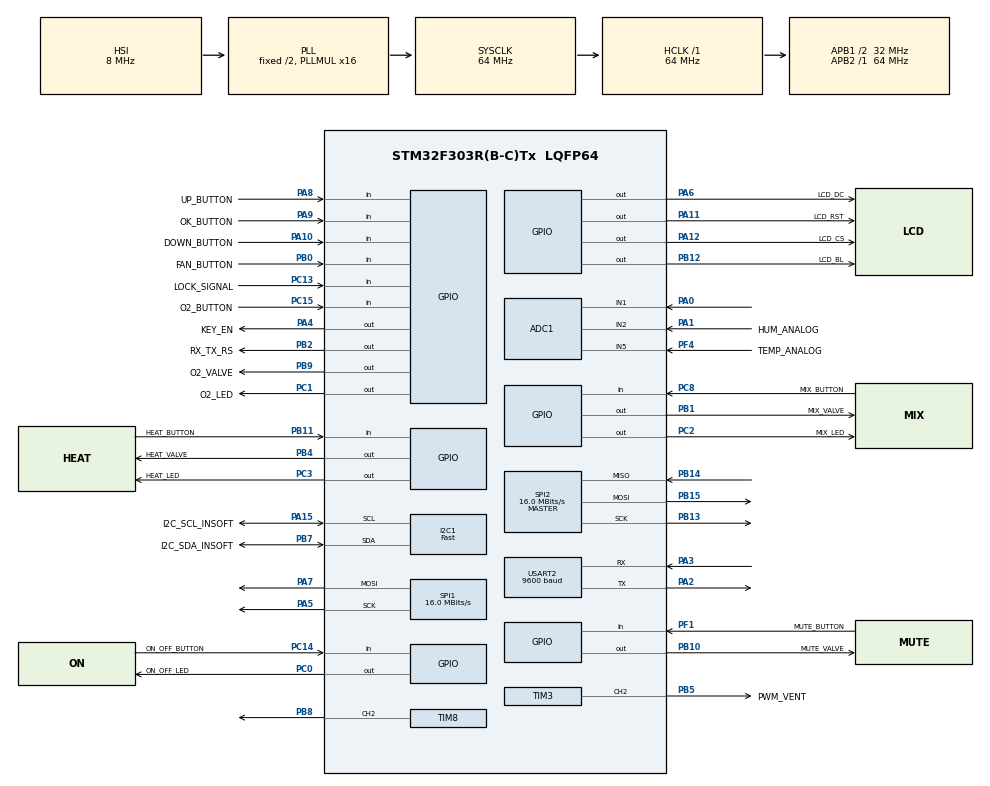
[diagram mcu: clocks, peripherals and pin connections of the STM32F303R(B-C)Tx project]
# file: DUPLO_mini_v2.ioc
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ADC1.ContinuousConvMode=ENABLE
ADC1.EnableInjectedConversion=ENABLE
ADC1.EnableRegularConversion=DISABLE
ADC1.InjNumberOfConversion=3
ADC1.InjectedChannel-1\#ChannelInjectedConversion=ADC_CHANNEL_1
ADC1.InjectedChannel-2\#ChannelInjectedConversion=ADC_CHANNEL_2
ADC1.InjectedChannel-3\#ChannelInjectedConversion=ADC_CHANNEL_5
ADC1.InjectedConvMode=AutoInjected
ADC1.InjectedOffset-1\#ChannelInjectedConversion=0
ADC1.InjectedOffset-2\#ChannelInjectedConversion=0
ADC1.InjectedOffset-3\#ChannelInjectedConversion=0
ADC1.InjectedOffsetNumber-1\#ChannelInjectedConversion=ADC_OFFSET_NONE
ADC1.InjectedOffsetNumber-2\#ChannelInjectedConversion=ADC_OFFSET_NONE
ADC1.InjectedOffsetNumber-3\#ChannelInjectedConversion=ADC_OFFSET_NONE
ADC1.InjectedRank-1\#ChannelInjectedConversion=1
ADC1.InjectedRank-2\#ChannelInjectedConversion=2
ADC1.InjectedRank-3\#ChannelInjectedConversion=3
ADC1.InjectedSamplingTime-1\#ChannelInjectedConversion=ADC_SAMPLETIME_19CYCLES_5
ADC1.InjectedSamplingTime-2\#ChannelInjectedConversion=ADC_SAMPLETIME_19CYCLES_5
ADC1.InjectedSamplingTime-3\#ChannelInjectedConversion=ADC_SAMPLETIME_19CYCLES_5
ADC1.InjectedSamplingTimeOPAMP-1\#ChannelInjectedConversion=ADC_SAMPLETIME_4CYCLES_5
ADC1.InjectedSamplingTimeOPAMP-2\#ChannelInjectedConversion=ADC_SAMPLETIME_4CYCLES_5
ADC1.InjectedSamplingTimeOPAMP-3\#ChannelInjectedConversion=ADC_SAMPLETIME_7CYCLES_5
ADC1.Rank3_Channel=ADC_CHANNEL_5
ADC1.master=1
I2C1.I2C_Speed_Mode=I2C_Fast
I2C1.Timing=0x00602173
Mcu.Family=STM32F3
Mcu.Name=STM32F303R(B-C)Tx
Mcu.Package=LQFP64
NVIC.I2C1_ER_IRQn=true\:0\:0\:false\:false\:true\:true\:true\:true
NVIC.I2C1_EV_IRQn=true\:0\:0\:false\:false\:true\:true\:true\:true
NVIC.PriorityGroup=NVIC_PRIORITYGROUP_4
NVIC.SPI1_IRQn=true\:0\:0\:false\:false\:true\:true\:true\:true
NVIC.TIM1_BRK_TIM15_IRQn=true\:0\:0\:false\:false\:true\:true\:true\:true
NVIC.TIM3_IRQn=true\:0\:0\:false\:false\:true\:true\:true\:true
NVIC.TIM6_DAC_IRQn=true\:0\:0\:false\:false\:true\:true\:true\:true
NVIC.TIM7_IRQn=true\:0\:0\:false\:false\:true\:true\:true\:true
NVIC.USART2_IRQn=true\:0\:0\:false\:false\:true\:true\:true\:true
PA0.Mode=IN1-Single-Ended
PA0.Signal=ADC1_IN1
PA1.GPIO_Label=HUM_ANALOG
PA1.Mode=IN2-Single-Ended
PA1.Signal=ADC1_IN2
PA10.GPIO_Label=DOWN_BUTTON
PA10.Signal=GPIO_Input
PA11.GPIO_Label=LCD_RST
PA11.Signal=GPIO_Output
PA12.GPIO_Label=LCD_CS
PA12.Signal=GPIO_Output
PA13.Mode=Serial_Wire
PA13.Signal=SYS_JTMS-SWDIO
PA14.Mode=Serial_Wire
PA14.Signal=SYS_JTCK-SWCLK
PA15.GPIO_Label=I2C_SCL_INSOFT
PA15.Mode=I2C
PA15.Signal=I2C1_SCL
PA2.Mode=Asynchronous
PA2.Signal=USART2_TX
PA3.Mode=Asynchronous
PA3.Signal=USART2_RX
PA4.GPIO_Label=KEY_EN
PA4.Signal=GPIO_Output
PA5.Mode=TX_Only_Simplex_Unidirect_Master
PA5.Signal=SPI1_SCK
PA6.GPIO_Label=LCD_DC
PA6.Signal=GPIO_Output
PA7.Mode=TX_Only_Simplex_Unidirect_Master
PA7.Signal=SPI1_MOSI
PA8.GPIO_Label=UP_BUTTON
PA8.Signal=GPIO_Input
PA9.GPIO_Label=OK_BUTTON
PA9.Signal=GPIO_Input
PB0.GPIO_Label=FAN_BUTTON
PB0.Signal=GPIO_Input
PB1.GPIO_Label=MIX_VALVE
PB1.Signal=GPIO_Output
PB10.GPIO_Label=MUTE_VALVE
PB10.Signal=GPIO_Output
PB11.GPIO_Label=HEAT_BUTTON
PB11.Signal=GPIO_Input
PB12.GPIO_Label=LCD_BL
PB12.Signal=GPIO_Output
PB13.Mode=Full_Duplex_Master
PB13.Signal=SPI2_SCK
PB14.Mode=Full_Duplex_Master
PB14.Signal=SPI2_MISO
PB15.Mode=Full_Duplex_Master
PB15.Signal=SPI2_MOSI
PB2.GPIO_Label=RX_TX_RS
PB2.Signal=GPIO_Output
PB3.Signal=SYS_JTDO-TRACESWO
PB4.GPIO_Label=HEAT_VALVE
PB4.Signal=GPIO_Output
PB5.GPIO_Label=PWM_VENT
PB5.Signal=S_TIM3_CH2
PB7.GPIO_Label=I2C_SDA_INSOFT
PB7.Mode=I2C
PB7.Signal=I2C1_SDA
PB8.Signal=S_TIM8_CH2
PB9.GPIO_Label=O2_VALVE
PB9.Signal=GPIO_Output
PC0.GPIO_Label=ON_OFF_LED
PC0.Signal=GPIO_Output
PC1.GPIO_Label=O2_LED
PC1.Signal=GPIO_Output
PC13.GPIO_Label=LOCK_SIGNAL
PC13.Signal=GPIO_Input
PC14-OSC32_IN.GPIO_Label=ON_OFF_BUTTON
PC14-OSC32_IN.Signal=GPIO_Input
PC15-OSC32_OUT.GPIO_Label=O2_BUTTON
PC15-OSC32_OUT.Signal=GPIO_Input
PC2.GPIO_Label=MIX_LED
PC2.Signal=GPIO_Output
PC3.GPIO_Label=HEAT_LED
PC3.Signal=GPIO_Output
PC8.GPIO_Label=MIX_BUTTON
PC8.Signal=GPIO_Input
PF1-OSC_OUT.GPIO_Label=MUTE_BUTTON
PF1-OSC_OUT.Signal=GPIO_Input
PF4.GPIO_Label=TEMP_ANALOG
PF4.Mode=IN5-Single-Ended
PF4.Signal=ADC1_IN5
ProjectManager.HeapSize=0x200
ProjectManager.StackSize=0x400
ProjectManager.TargetToolchain=STM32CubeIDE
RCC.ADC12PRES=RCC_ADC12PLLCLK_DIV4
RCC.AHBFreq_Value=64000000
RCC.APB1CLKDivider=RCC_HCLK_DIV2
RCC.APB1Freq_Value=32000000
RCC.APB1TimFreq_Value=64000000
RCC.APB2Freq_Value=64000000
RCC.APB2TimFreq_Value=64000000
RCC.CortexFreq_Value=64000000
RCC.HCLKFreq_Value=64000000
RCC.HSE_VALUE=8000000
RCC.HSI_VALUE=8000000
RCC.I2c1ClockSelection=RCC_I2C1CLKSOURCE_SYSCLK
RCC.LSE_VALUE=32768
RCC.PLLMUL=RCC_PLL_MUL16
RCC.SYSCLKFreq_VALUE=64000000
RCC.SYSCLKSourceVirtual=RCC_SYSCLKSOURCE_PLLCLK
RCC.USBFreq_Value=64000000
SH.S_TIM3_CH2.0=TIM3_CH2,PWM Generation2 CH2
SH.S_TIM8_CH2.0=TIM8_CH2,PWM Generation2 CH2
SPI1.BaudRatePrescaler=SPI_BAUDRATEPRESCALER_4
SPI1.CalculateBaudRate=16.0 MBits/s
SPI1.DataSize=SPI_DATASIZE_8BIT
SPI1.Direction=SPI_DIRECTION_2LINES
SPI1.Mode=SPI_MODE_MASTER
SPI1.VirtualType=VM_MASTER
SPI2.CalculateBaudRate=16.0 MBits/s
SPI2.Direction=SPI_DIRECTION_2LINES
SPI2.Mode=SPI_MODE_MASTER
SPI2.VirtualType=VM_MASTER
TIM15.Period=999
TIM15.Prescaler=63
TIM3.Channel-PWM\ Generation2\ CH2=TIM_CHANNEL_2
TIM3.Period=255
TIM3.Prescaler=34
TIM3.Pulse-PWM\ Generation2\ CH2=50
TIM6.Period=49999
TIM6.Prescaler=639
TIM7.Period=50
TIM7.Prescaler=63
TIM8.Channel-PWM\ Generation2\ CH2=TIM_CHANNEL_2
TIM8.Period=39
TIM8.Prescaler=639
TIM8.Pulse-PWM\ Generation2\ CH2=10
USART2.BaudRate=9600
USART2.VirtualMode-Asynchronous=VM_ASYNC
VP_TIM15_VS_ClockSourceINT.Mode=Internal
VP_TIM6_VS_ClockSourceINT.Mode=Enable_Timer
VP_TIM7_VS_ClockSourceINT.Mode=Enable_Timer
board=custom

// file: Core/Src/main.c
/* USER CODE BEGIN Header */
/**
 ******************************************************************************
 * @file           : main.c
 * @brief          : Main program body
 ******************************************************************************
 * @attention
 *
 * Copyright (c) 2023 STMicroelectronics.
 * All rights reserved.
 *
 * This software is licensed under terms that can be found in the LICENSE file
 * in the root directory of this software component.
 * If no LICENSE file comes with this software, it is provided AS-IS.
 *
 ******************************************************************************
 */
/* USER CODE END Header */
#include "main.h"

/* USER CODE BEGIN Includes */
#include "../../Modules/Button/button.h"
#include <stdio.h>
#include <gas_sensor.h>
#include <window_drawer.h>
#include <math.h>
#include <sensors_in.h>
#include <button_press_check.h>
#include <stdbool.h>
#include "../../Modules/LCD/stm32_adafruit_lcd.h"

/* USER CODE END Includes */

ADC_HandleTypeDef hadc1;

I2C_HandleTypeDef hi2c1;

SPI_HandleTypeDef hspi1;
SPI_HandleTypeDef hspi2;

TIM_HandleTypeDef htim3;
TIM_HandleTypeDef htim6;
TIM_HandleTypeDef htim7;
TIM_HandleTypeDef htim8;
TIM_HandleTypeDef htim15;

UART_HandleTypeDef huart2;

/* USER CODE BEGIN PV */
DUPLO_MODE cur_mode;

float adc_co2_sum = 0;
uint16_t i2c_o2_sum = 0;
uint16_t i2c_ar_sum = 0;
bool porsion = 0;
bool set_ch = 1;
bool settings_open = 0;
uint8_t mute_counter = 0;
uint8_t porsion_counter = 0;
uint8_t counter_choice = 0;
uint16_t o2_mid = 0;
uint16_t ar_mid = 0;
uint16_t temp = 0;
uint16_t hum = 0;
uint16_t adc_co2 = 0;
uint8_t setting_mode = 1;
uint16_t i2c_answer[] = { 0x00, 0x00 };
uint8_t del = 9;
uint8_t o2_mode = 0;
uint8_t ar_mode = 0;
uint8_t setting_corr = 10;
uint8_t work_on = 0;

/* USER CODE END PV */

void SystemClock_Config(void);
static void MX_GPIO_Init(void);
static void MX_ADC1_Init(void);
static void MX_I2C1_Init(void);
static void MX_SPI1_Init(void);
static void MX_TIM3_Init(void);
static void MX_TIM6_Init(void);
static void MX_TIM15_Init(void);
static void MX_TIM7_Init(void);
static void MX_USART2_UART_Init(void);
static void MX_SPI2_Init(void);
static void MX_TIM8_Init(void);

int main(void) {

	/* MCU Configuration--------------------------------------------------------*/

	/* Reset of all peripherals, Initializes the Flash interface and the Systick. */
	HAL_Init();

	/* Configure the system clock */
	SystemClock_Config();

	/* Initialize all configured peripherals */
	MX_GPIO_Init();
	MX_ADC1_Init();
	MX_I2C1_Init();
	MX_SPI1_Init();
	MX_TIM3_Init();
	MX_TIM6_Init();
	MX_TIM15_Init();
	MX_TIM7_Init();
	MX_USART2_UART_Init();
	MX_SPI2_Init();
	MX_TIM8_Init();
	/* USER CODE BEGIN 2 */

	BSP_LCD_Init();
	BSP_LCD_Clear(LCD_COLOR_BLACK);
	BUTTON_Init();
	HAL_ADCEx_Calibration_Start(&hadc1, ADC_SINGLE_ENDED);
	TIM3->CCR2 = 0;
	TIM8->CCR2 = 0;

	HAL_TIM_Base_Start_IT(&htim3);
	HAL_TIM_Base_Start_IT(&htim6);
	HAL_TIM_Base_Start_IT(&htim15);
	HAL_TIM_PWM_Start(&htim3, TIM_CHANNEL_2);
	HAL_TIM_PWM_Start(&htim8, TIM_CHANNEL_2);

	cur_mode.mode = 0;
	cur_mode.vent = 0;
	cur_mode.ar_setting = 400;
	cur_mode.o2_setting = 400;

	/* USER CODE END 2 */

	/* Infinite loop */
	/* USER CODE BEGIN WHILE */

	setGasType(hi2c1, 1);

	HAL_ADC_Start(&hadc1);

	main_page();
	button_led_init();

	while (1) {
		BUTTON_Process();

		if (BUTTON_GetAction(BUTTON_ON) == BUTTON_LONG_PRESS) {
			if (work_on == 0) {
				button_on();
				work_on = 1;
				cur_mode.vent = change_vent_mode(0);
			} else {
				work_on = 0;
				button_off();
				cur_mode.vent = change_vent_mode(3);
				cur_mode.mode = 0;
				o2_mode = 0;
				ar_mode = 0;
				TIM8->CCR2 = 0;
				mute_counter = 0;
				settings_open = 0;
				delete_main_frame();
				main_page();
			}
		}

		if (work_on) {

			get_both(hi2c1, i2c_answer);

			modbus_get_temp_hum(huart2, &temp, &hum);

			button_check(hi2c1, &o2_mode, &ar_mode, &cur_mode, &mute_counter,
					&settings_open, &setting_mode);

			if (counter_choice == 9) {
				o2_mid = i2c_o2_sum / del;
				ar_mid = i2c_ar_sum / del;
				adc_co2 = adc_co2_sum / del;
			}

			if (!settings_open) {
				sensors_draw(o2_mid, temp, hum, adc_co2, ar_mid, &cur_mode);
				work_mode(cur_mode.mode);
			} else {
				settings_draw(&cur_mode);
			}

			switch (cur_mode.mode) {
			case 0:
				HAL_GPIO_WritePin(O2_VALVE_GPIO_Port, O2_VALVE_Pin, PIN_OFF);
				HAL_GPIO_WritePin(MIX_VALVE_GPIO_Port, MIX_VALVE_Pin, PIN_OFF);
				break;
			case 1:
				HAL_GPIO_WritePin(O2_VALVE_GPIO_Port, O2_VALVE_Pin, PIN_OFF);
				if (ar_mid < cur_mode.ar_setting - setting_corr && porsion) {
					HAL_GPIO_WritePin(MIX_VALVE_GPIO_Port, MIX_VALVE_Pin,
					PIN_ON);
				} else
					HAL_GPIO_WritePin(MIX_VALVE_GPIO_Port, MIX_VALVE_Pin,
					PIN_OFF);
				break;
			case 10:
				HAL_GPIO_WritePin(MIX_VALVE_GPIO_Port, MIX_VALVE_Pin, PIN_OFF);
				if (o2_mid < cur_mode.o2_setting - setting_corr && porsion) {
					HAL_GPIO_WritePin(O2_VALVE_GPIO_Port, O2_VALVE_Pin, PIN_ON);
				} else
					HAL_GPIO_WritePin(O2_VALVE_GPIO_Port, O2_VALVE_Pin,
					PIN_OFF);
				break;
			case 11:
				if (ar_mid < cur_mode.ar_setting - setting_corr && porsion) {
					HAL_GPIO_WritePin(MIX_VALVE_GPIO_Port, MIX_VALVE_Pin,
					PIN_ON);
				} else
					HAL_GPIO_WritePin(MIX_VALVE_GPIO_Port, MIX_VALVE_Pin,
					PIN_OFF);

				if (porsion && ar_mid > cur_mode.ar_setting - setting_corr
						&& ar_mid < 1000) {
					if (o2_mid < cur_mode.o2_setting - setting_corr) {
						HAL_GPIO_WritePin(O2_VALVE_GPIO_Port, O2_VALVE_Pin,
						PIN_ON);
					} else
						HAL_GPIO_WritePin(O2_VALVE_GPIO_Port, O2_VALVE_Pin,
						PIN_OFF);
				} else {
					HAL_GPIO_WritePin(O2_VALVE_GPIO_Port, O2_VALVE_Pin,
					PIN_OFF);
				}
				break;
			default:
				HAL_GPIO_WritePin(O2_VALVE_GPIO_Port, O2_VALVE_Pin, PIN_OFF);
				HAL_GPIO_WritePin(MIX_VALVE_GPIO_Port, MIX_VALVE_Pin, PIN_OFF);
				break;
			}

			if ((adc_co2 > 100 || o2_mid < 190 || temp > 4000)
					&& mute_counter == 0) {
				TIM8->CCR2 = 20;
			} else
				TIM8->CCR2 = 0;
		}

		BUTTON_ResetActions();

		/* USER CODE END WHILE */

	}
}

void SystemClock_Config(void) {
	RCC_OscInitTypeDef RCC_OscInitStruct = { 0 };
	RCC_ClkInitTypeDef RCC_ClkInitStruct = { 0 };
	RCC_PeriphCLKInitTypeDef PeriphClkInit = { 0 };

	/** Initializes the RCC Oscillators according to the specified parameters
	 * in the RCC_OscInitTypeDef structure.
	 */
	RCC_OscInitStruct.OscillatorType = RCC_OSCILLATORTYPE_HSI;
	RCC_OscInitStruct.HSIState = RCC_HSI_ON;
	RCC_OscInitStruct.HSICalibrationValue = RCC_HSICALIBRATION_DEFAULT;
	RCC_OscInitStruct.PLL.PLLState = RCC_PLL_ON;
	RCC_OscInitStruct.PLL.PLLSource = RCC_PLLSOURCE_HSI;
	RCC_OscInitStruct.PLL.PLLMUL = RCC_PLL_MUL16;
	if (HAL_RCC_OscConfig(&RCC_OscInitStruct) != HAL_OK) {
		Error_Handler();
	}

	/** Initializes the CPU, AHB and APB buses clocks
	 */
	RCC_ClkInitStruct.ClockType = RCC_CLOCKTYPE_HCLK | RCC_CLOCKTYPE_SYSCLK
			| RCC_CLOCKTYPE_PCLK1 | RCC_CLOCKTYPE_PCLK2;
	RCC_ClkInitStruct.SYSCLKSource = RCC_SYSCLKSOURCE_PLLCLK;
	RCC_ClkInitStruct.AHBCLKDivider = RCC_SYSCLK_DIV1;
	RCC_ClkInitStruct.APB1CLKDivider = RCC_HCLK_DIV2;
	RCC_ClkInitStruct.APB2CLKDivider = RCC_HCLK_DIV1;

	if (HAL_RCC_ClockConfig(&RCC_ClkInitStruct, FLASH_LATENCY_2) != HAL_OK) {
		Error_Handler();
	}
	PeriphClkInit.PeriphClockSelection = RCC_PERIPHCLK_USART2
			| RCC_PERIPHCLK_I2C1 | RCC_PERIPHCLK_TIM8 | RCC_PERIPHCLK_ADC12;
	PeriphClkInit.Usart2ClockSelection = RCC_USART2CLKSOURCE_PCLK1;
	PeriphClkInit.Adc12ClockSelection = RCC_ADC12PLLCLK_DIV4;
	PeriphClkInit.I2c1ClockSelection = RCC_I2C1CLKSOURCE_SYSCLK;
	PeriphClkInit.Tim8ClockSelection = RCC_TIM8CLK_HCLK;
	if (HAL_RCCEx_PeriphCLKConfig(&PeriphClkInit) != HAL_OK) {
		Error_Handler();
	}
}

static void MX_ADC1_Init(void) {

	ADC_MultiModeTypeDef multimode = { 0 };
	ADC_InjectionConfTypeDef sConfigInjected = { 0 };

	/** Common config
	 */
	hadc1.Instance = ADC1;
	hadc1.Init.ClockPrescaler = ADC_CLOCK_ASYNC_DIV1;
	hadc1.Init.Resolution = ADC_RESOLUTION_12B;
	hadc1.Init.ScanConvMode = ADC_SCAN_ENABLE;
	hadc1.Init.ContinuousConvMode = ENABLE;
	hadc1.Init.DiscontinuousConvMode = DISABLE;
	hadc1.Init.DataAlign = ADC_DATAALIGN_RIGHT;
	hadc1.Init.NbrOfConversion = 1;
	hadc1.Init.DMAContinuousRequests = DISABLE;
	hadc1.Init.EOCSelection = ADC_EOC_SINGLE_CONV;
	hadc1.Init.LowPowerAutoWait = DISABLE;
	hadc1.Init.Overrun = ADC_OVR_DATA_OVERWRITTEN;
	if (HAL_ADC_Init(&hadc1) != HAL_OK) {
		Error_Handler();
	}

	/** Configure the ADC multi-mode
	 */
	multimode.Mode = ADC_MODE_INDEPENDENT;
	if (HAL_ADCEx_MultiModeConfigChannel(&hadc1, &multimode) != HAL_OK) {
		Error_Handler();
	}

	/** Configure Injected Channel
	 */
	sConfigInjected.InjectedChannel = ADC_CHANNEL_1;
	sConfigInjected.InjectedRank = ADC_INJECTED_RANK_1;
	sConfigInjected.InjectedSingleDiff = ADC_SINGLE_ENDED;
	sConfigInjected.InjectedNbrOfConversion = 3;
	sConfigInjected.InjectedSamplingTime = ADC_SAMPLETIME_19CYCLES_5;
	sConfigInjected.ExternalTrigInjecConvEdge =
	ADC_EXTERNALTRIGINJECCONV_EDGE_RISING;
	sConfigInjected.ExternalTrigInjecConv = ADC_INJECTED_SOFTWARE_START;
	sConfigInjected.AutoInjectedConv = ENABLE;
	sConfigInjected.InjectedDiscontinuousConvMode = DISABLE;
	sConfigInjected.QueueInjectedContext = DISABLE;
	sConfigInjected.InjectedOffset = 0;
	sConfigInjected.InjectedOffsetNumber = ADC_OFFSET_NONE;
	if (HAL_ADCEx_InjectedConfigChannel(&hadc1, &sConfigInjected) != HAL_OK) {
		Error_Handler();
	}

	/** Configure Injected Channel
	 */
	sConfigInjected.InjectedChannel = ADC_CHANNEL_2;
	sConfigInjected.InjectedRank = ADC_INJECTED_RANK_2;
	if (HAL_ADCEx_InjectedConfigChannel(&hadc1, &sConfigInjected) != HAL_OK) {
		Error_Handler();
	}

	/** Configure Injected Channel
	 */
	sConfigInjected.InjectedChannel = ADC_CHANNEL_5;
	sConfigInjected.InjectedRank = ADC_INJECTED_RANK_3;
	if (HAL_ADCEx_InjectedConfigChannel(&hadc1, &sConfigInjected) != HAL_OK) {
		Error_Handler();
	}

}

static void MX_I2C1_Init(void) {

	hi2c1.Instance = I2C1;
	hi2c1.Init.Timing = 0x00602173;
	hi2c1.Init.OwnAddress1 = 0;
	hi2c1.Init.AddressingMode = I2C_ADDRESSINGMODE_7BIT;
	hi2c1.Init.DualAddressMode = I2C_DUALADDRESS_DISABLE;
	hi2c1.Init.OwnAddress2 = 0;
	hi2c1.Init.OwnAddress2Masks = I2C_OA2_NOMASK;
	hi2c1.Init.GeneralCallMode = I2C_GENERALCALL_DISABLE;
	hi2c1.Init.NoStretchMode = I2C_NOSTRETCH_DISABLE;
	if (HAL_I2C_Init(&hi2c1) != HAL_OK) {
		Error_Handler();
	}

	/** Configure Analogue filter
	 */
	if (HAL_I2CEx_ConfigAnalogFilter(&hi2c1, I2C_ANALOGFILTER_ENABLE)
			!= HAL_OK) {
		Error_Handler();
	}

	/** Configure Digital filter
	 */
	if (HAL_I2CEx_ConfigDigitalFilter(&hi2c1, 0) != HAL_OK) {
		Error_Handler();
	}

}

static void MX_SPI1_Init(void) {

	/* SPI1 parameter configuration*/
	hspi1.Instance = SPI1;
	hspi1.Init.Mode = SPI_MODE_MASTER;
	hspi1.Init.Direction = SPI_DIRECTION_2LINES;
	hspi1.Init.DataSize = SPI_DATASIZE_8BIT;
	hspi1.Init.CLKPolarity = SPI_POLARITY_LOW;
	hspi1.Init.CLKPhase = SPI_PHASE_1EDGE;
	hspi1.Init.NSS = SPI_NSS_SOFT;
	hspi1.Init.BaudRatePrescaler = SPI_BAUDRATEPRESCALER_4;
	hspi1.Init.FirstBit = SPI_FIRSTBIT_MSB;
	hspi1.Init.TIMode = SPI_TIMODE_DISABLE;
	hspi1.Init.CRCCalculation = SPI_CRCCALCULATION_DISABLE;
	hspi1.Init.CRCPolynomial = 7;
	hspi1.Init.CRCLength = SPI_CRC_LENGTH_DATASIZE;
	hspi1.Init.NSSPMode = SPI_NSS_PULSE_ENABLE;
	if (HAL_SPI_Init(&hspi1) != HAL_OK) {
		Error_Handler();
	}

}

static void MX_SPI2_Init(void) {

	/* SPI2 parameter configuration*/
	hspi2.Instance = SPI2;
	hspi2.Init.Mode = SPI_MODE_MASTER;
	hspi2.Init.Direction = SPI_DIRECTION_2LINES;
	hspi2.Init.DataSize = SPI_DATASIZE_4BIT;
	hspi2.Init.CLKPolarity = SPI_POLARITY_LOW;
	hspi2.Init.CLKPhase = SPI_PHASE_1EDGE;
	hspi2.Init.NSS = SPI_NSS_SOFT;
	hspi2.Init.BaudRatePrescaler = SPI_BAUDRATEPRESCALER_2;
	hspi2.Init.FirstBit = SPI_FIRSTBIT_MSB;
	hspi2.Init.TIMode = SPI_TIMODE_DISABLE;
	hspi2.Init.CRCCalculation = SPI_CRCCALCULATION_DISABLE;
	hspi2.Init.CRCPolynomial = 7;
	hspi2.Init.CRCLength = SPI_CRC_LENGTH_DATASIZE;
	hspi2.Init.NSSPMode = SPI_NSS_PULSE_ENABLE;
	if (HAL_SPI_Init(&hspi2) != HAL_OK) {
		Error_Handler();
	}

}

static void MX_TIM3_Init(void) {

	TIM_MasterConfigTypeDef sMasterConfig = { 0 };
	TIM_OC_InitTypeDef sConfigOC = { 0 };

	htim3.Instance = TIM3;
	htim3.Init.Prescaler = 34;
	htim3.Init.CounterMode = TIM_COUNTERMODE_UP;
	htim3.Init.Period = 255;
	htim3.Init.ClockDivision = TIM_CLOCKDIVISION_DIV1;
	htim3.Init.AutoReloadPreload = TIM_AUTORELOAD_PRELOAD_DISABLE;
	if (HAL_TIM_PWM_Init(&htim3) != HAL_OK) {
		Error_Handler();
	}
	sMasterConfig.MasterOutputTrigger = TIM_TRGO_RESET;
	sMasterConfig.MasterSlaveMode = TIM_MASTERSLAVEMODE_DISABLE;
	if (HAL_TIMEx_MasterConfigSynchronization(&htim3, &sMasterConfig)
			!= HAL_OK) {
		Error_Handler();
	}
	sConfigOC.OCMode = TIM_OCMODE_PWM1;
	sConfigOC.Pulse = 50;
	sConfigOC.OCPolarity = TIM_OCPOLARITY_HIGH;
	sConfigOC.OCFastMode = TIM_OCFAST_DISABLE;
	if (HAL_TIM_PWM_ConfigChannel(&htim3, &sConfigOC, TIM_CHANNEL_2)
			!= HAL_OK) {
		Error_Handler();
	}
	HAL_TIM_MspPostInit(&htim3);

}

static void MX_TIM6_Init(void) {

	TIM_MasterConfigTypeDef sMasterConfig = { 0 };

	htim6.Instance = TIM6;
	htim6.Init.Prescaler = 639;
	htim6.Init.CounterMode = TIM_COUNTERMODE_UP;
	htim6.Init.Period = 49999;
	htim6.Init.AutoReloadPreload = TIM_AUTORELOAD_PRELOAD_DISABLE;
	if (HAL_TIM_Base_Init(&htim6) != HAL_OK) {
		Error_Handler();
	}
	sMasterConfig.MasterOutputTrigger = TIM_TRGO_RESET;
	sMasterConfig.MasterSlaveMode = TIM_MASTERSLAVEMODE_DISABLE;
	if (HAL_TIMEx_MasterConfigSynchronization(&htim6, &sMasterConfig)
			!= HAL_OK) {
		Error_Handler();
	}

}

static void MX_TIM7_Init(void) {

	TIM_MasterConfigTypeDef sMasterConfig = { 0 };

	htim7.Instance = TIM7;
	htim7.Init.Prescaler = 63;
	htim7.Init.CounterMode = TIM_COUNTERMODE_UP;
	htim7.Init.Period = 50;
	htim7.Init.AutoReloadPreload = TIM_AUTORELOAD_PRELOAD_DISABLE;
	if (HAL_TIM_Base_Init(&htim7) != HAL_OK) {
		Error_Handler();
	}
	sMasterConfig.MasterOutputTrigger = TIM_TRGO_RESET;
	sMasterConfig.MasterSlaveMode = TIM_MASTERSLAVEMODE_DISABLE;
	if (HAL_TIMEx_MasterConfigSynchronization(&htim7, &sMasterConfig)
			!= HAL_OK) {
		Error_Handler();
	}

}

static void MX_TIM8_Init(void) {

	TIM_MasterConfigTypeDef sMasterConfig = { 0 };
	TIM_OC_InitTypeDef sConfigOC = { 0 };
	TIM_BreakDeadTimeConfigTypeDef sBreakDeadTimeConfig = { 0 };

	htim8.Instance = TIM8;
	htim8.Init.Prescaler = 639;
	htim8.Init.CounterMode = TIM_COUNTERMODE_UP;
	htim8.Init.Period = 39;
	htim8.Init.ClockDivision = TIM_CLOCKDIVISION_DIV1;
	htim8.Init.RepetitionCounter = 0;
	htim8.Init.AutoReloadPreload = TIM_AUTORELOAD_PRELOAD_DISABLE;
	if (HAL_TIM_PWM_Init(&htim8) != HAL_OK) {
		Error_Handler();
	}
	sMasterConfig.MasterOutputTrigger = TIM_TRGO_RESET;
	sMasterConfig.MasterOutputTrigger2 = TIM_TRGO2_RESET;
	sMasterConfig.MasterSlaveMode = TIM_MASTERSLAVEMODE_DISABLE;
	if (HAL_TIMEx_MasterConfigSynchronization(&htim8, &sMasterConfig)
			!= HAL_OK) {
		Error_Handler();
	}
	sConfigOC.OCMode = TIM_OCMODE_PWM1;
	sConfigOC.Pulse = 10;
	sConfigOC.OCPolarity = TIM_OCPOLARITY_HIGH;
	sConfigOC.OCNPolarity = TIM_OCNPOLARITY_HIGH;
	sConfigOC.OCFastMode = TIM_OCFAST_DISABLE;
	sConfigOC.OCIdleState = TIM_OCIDLESTATE_RESET;
	sConfigOC.OCNIdleState = TIM_OCNIDLESTATE_RESET;
	if (HAL_TIM_PWM_ConfigChannel(&htim8, &sConfigOC, TIM_CHANNEL_2)
			!= HAL_OK) {
		Error_Handler();
	}
	sBreakDeadTimeConfig.OffStateRunMode = TIM_OSSR_DISABLE;
	sBreakDeadTimeConfig.OffStateIDLEMode = TIM_OSSI_DISABLE;
	sBreakDeadTimeConfig.LockLevel = TIM_LOCKLEVEL_OFF;
	sBreakDeadTimeConfig.DeadTime = 0;
	sBreakDeadTimeConfig.BreakState = TIM_BREAK_DISABLE;
	sBreakDeadTimeConfig.BreakPolarity = TIM_BREAKPOLARITY_HIGH;
	sBreakDeadTimeConfig.BreakFilter = 0;
	sBreakDeadTimeConfig.Break2State = TIM_BREAK2_DISABLE;
	sBreakDeadTimeConfig.Break2Polarity = TIM_BREAK2POLARITY_HIGH;
	sBreakDeadTimeConfig.Break2Filter = 0;
	sBreakDeadTimeConfig.AutomaticOutput = TIM_AUTOMATICOUTPUT_DISABLE;
	if (HAL_TIMEx_ConfigBreakDeadTime(&htim8, &sBreakDeadTimeConfig)
			!= HAL_OK) {
		Error_Handler();
	}
	HAL_TIM_MspPostInit(&htim8);

}

static void MX_TIM15_Init(void) {

	TIM_ClockConfigTypeDef sClockSourceConfig = { 0 };
	TIM_MasterConfigTypeDef sMasterConfig = { 0 };

	htim15.Instance = TIM15;
	htim15.Init.Prescaler = 63;
	htim15.Init.CounterMode = TIM_COUNTERMODE_UP;
	htim15.Init.Period = 999;
	htim15.Init.ClockDivision = TIM_CLOCKDIVISION_DIV1;
	htim15.Init.RepetitionCounter = 0;
	htim15.Init.AutoReloadPreload = TIM_AUTORELOAD_PRELOAD_DISABLE;
	if (HAL_TIM_Base_Init(&htim15) != HAL_OK) {
		Error_Handler();
	}
	sClockSourceConfig.ClockSource = TIM_CLOCKSOURCE_INTERNAL;
	if (HAL_TIM_ConfigClockSource(&htim15, &sClockSourceConfig) != HAL_OK) {
		Error_Handler();
	}
	sMasterConfig.MasterOutputTrigger = TIM_TRGO_RESET;
	sMasterConfig.MasterSlaveMode = TIM_MASTERSLAVEMODE_DISABLE;
	if (HAL_TIMEx_MasterConfigSynchronization(&htim15, &sMasterConfig)
			!= HAL_OK) {
		Error_Handler();
	}

}

static void MX_USART2_UART_Init(void) {

	huart2.Instance = USART2;
	huart2.Init.BaudRate = 9600;
	huart2.Init.WordLength = UART_WORDLENGTH_8B;
	huart2.Init.StopBits = UART_STOPBITS_1;
	huart2.Init.Parity = UART_PARITY_NONE;
	huart2.Init.Mode = UART_MODE_TX_RX;
	huart2.Init.HwFlowCtl = UART_HWCONTROL_NONE;
	huart2.Init.OverSampling = UART_OVERSAMPLING_16;
	huart2.Init.OneBitSampling = UART_ONE_BIT_SAMPLE_DISABLE;
	huart2.AdvancedInit.AdvFeatureInit = UART_ADVFEATURE_NO_INIT;
	if (HAL_UART_Init(&huart2) != HAL_OK) {
		Error_Handler();
	}

}

static void MX_GPIO_Init(void) {
	GPIO_InitTypeDef GPIO_InitStruct = { 0 };

	/* GPIO Ports Clock Enable */
	__HAL_RCC_GPIOC_CLK_ENABLE();
	__HAL_RCC_GPIOF_CLK_ENABLE();
	__HAL_RCC_GPIOA_CLK_ENABLE();
	__HAL_RCC_GPIOB_CLK_ENABLE();

	/*Configure GPIO pin Output Level */
	HAL_GPIO_WritePin(GPIOC,
	ON_OFF_LED_Pin | O2_LED_Pin | MIX_LED_Pin | HEAT_LED_Pin, GPIO_PIN_RESET);

	/*Configure GPIO pin Output Level */
	HAL_GPIO_WritePin(GPIOA, KEY_EN_Pin | LCD_DC_Pin | LCD_RST_Pin | LCD_CS_Pin,
			GPIO_PIN_RESET);

	/*Configure GPIO pin Output Level */
	HAL_GPIO_WritePin(GPIOB,
			MIX_VALVE_Pin | RX_TX_RS_Pin | MUTE_VALVE_Pin | LCD_BL_Pin
					| HEAT_VALVE_Pin | O2_VALVE_Pin, GPIO_PIN_RESET);

	/*Configure GPIO pins : LOCK_SIGNAL_Pin ON_OFF_BUTTON_Pin O2_BUTTON_Pin MIX_BUTTON_Pin */
	GPIO_InitStruct.Pin = LOCK_SIGNAL_Pin | ON_OFF_BUTTON_Pin | O2_BUTTON_Pin
			| MIX_BUTTON_Pin;
	GPIO_InitStruct.Mode = GPIO_MODE_INPUT;
	GPIO_InitStruct.Pull = GPIO_NOPULL;
	HAL_GPIO_Init(GPIOC, &GPIO_InitStruct);

	/*Configure GPIO pin : MUTE_BUTTON_Pin */
	GPIO_InitStruct.Pin = MUTE_BUTTON_Pin;
	GPIO_InitStruct.Mode = GPIO_MODE_INPUT;
	GPIO_InitStruct.Pull = GPIO_NOPULL;
	HAL_GPIO_Init(MUTE_BUTTON_GPIO_Port, &GPIO_InitStruct);

	/*Configure GPIO pins : ON_OFF_LED_Pin O2_LED_Pin MIX_LED_Pin HEAT_LED_Pin */
	GPIO_InitStruct.Pin = ON_OFF_LED_Pin | O2_LED_Pin | MIX_LED_Pin
			| HEAT_LED_Pin;
	GPIO_InitStruct.Mode = GPIO_MODE_OUTPUT_PP;
	GPIO_InitStruct.Pull = GPIO_NOPULL;
	GPIO_InitStruct.Speed = GPIO_SPEED_FREQ_LOW;
	HAL_GPIO_Init(GPIOC, &GPIO_InitStruct);

	/*Configure GPIO pins : KEY_EN_Pin LCD_DC_Pin LCD_RST_Pin LCD_CS_Pin */
	GPIO_InitStruct.Pin = KEY_EN_Pin | LCD_DC_Pin | LCD_RST_Pin | LCD_CS_Pin;
	GPIO_InitStruct.Mode = GPIO_MODE_OUTPUT_PP;
	GPIO_InitStruct.Pull = GPIO_NOPULL;
	GPIO_InitStruct.Speed = GPIO_SPEED_FREQ_LOW;
	HAL_GPIO_Init(GPIOA, &GPIO_InitStruct);

	/*Configure GPIO pins : FAN_BUTTON_Pin HEAT_BUTTON_Pin */
	GPIO_InitStruct.Pin = FAN_BUTTON_Pin | HEAT_BUTTON_Pin;
	GPIO_InitStruct.Mode = GPIO_MODE_INPUT;
	GPIO_InitStruct.Pull = GPIO_NOPULL;
	HAL_GPIO_Init(GPIOB, &GPIO_InitStruct);

	/*Configure GPIO pins : MIX_VALVE_Pin RX_TX_RS_Pin MUTE_VALVE_Pin LCD_BL_Pin
	 HEAT_VALVE_Pin O2_VALVE_Pin */
	GPIO_InitStruct.Pin = MIX_VALVE_Pin | RX_TX_RS_Pin | MUTE_VALVE_Pin
			| LCD_BL_Pin | HEAT_VALVE_Pin | O2_VALVE_Pin;
	GPIO_InitStruct.Mode = GPIO_MODE_OUTPUT_PP;
	GPIO_InitStruct.Pull = GPIO_NOPULL;
	GPIO_InitStruct.Speed = GPIO_SPEED_FREQ_LOW;
	HAL_GPIO_Init(GPIOB, &GPIO_InitStruct);

	/*Configure GPIO pins : UP_BUTTON_Pin OK_BUTTON_Pin DOWN_BUTTON_Pin */
	GPIO_InitStruct.Pin = UP_BUTTON_Pin | OK_BUTTON_Pin | DOWN_BUTTON_Pin;
	GPIO_InitStruct.Mode = GPIO_MODE_INPUT;
	GPIO_InitStruct.Pull = GPIO_NOPULL;
	HAL_GPIO_Init(GPIOA, &GPIO_InitStruct);

}

/* USER CODE BEGIN 4 */

void HAL_TIM_PeriodElapsedCallback(TIM_HandleTypeDef *htim) {
	if (htim->Instance == htim15.Instance) {
		BUTTON_TimerProcess();
	}

	if (htim->Instance == htim6.Instance) {
		adc_co2_sum += co2_adc(ADC1->JDR1, VREF, 1.875) * 100;
		i2c_o2_sum += i2c_answer[0];
		i2c_ar_sum += i2c_answer[1];
		if (adc_co2_sum < 0) {
			adc_co2_sum = 0;
		}

		counter_choice++;
		porsion_counter++;

		if (counter_choice == 10) {
			counter_choice = 0;
			adc_co2_sum = 0;
			i2c_o2_sum = 0;
			i2c_ar_sum = 0;
		}
		if (mute_counter > 0)
			mute_counter--;

		if (porsion_counter == 40)
			porsion_counter = 0;
		if (porsion_counter >= 30)
			porsion = true;
		else
			porsion = false;

	}
}

/* USER CODE END 4 */

void Error_Handler(void) {
	__disable_irq();
	while (1) {
	}
}
